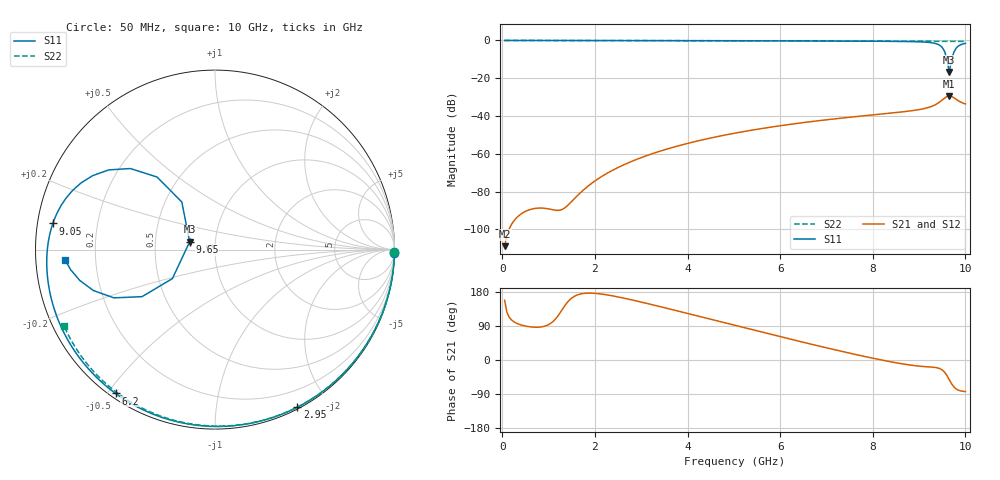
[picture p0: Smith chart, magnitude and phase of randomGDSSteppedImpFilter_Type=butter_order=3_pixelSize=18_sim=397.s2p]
! freq	dB(S11)	phase(S11)	dB(S12)	phase(S12)
!  dB(S21)	phase(S21)	dB(S22)	phase(S22)
!S-par simulation data
#  GHz  S  DB  R 50
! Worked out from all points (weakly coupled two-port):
!   200 points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, 50 MHz to 10 GHz, reference 50 ohm
!   highest |S21| = -29.33 dB at 9.65 GHz (marker M1); lowest = -108.9 dB at 50 MHz (marker M2)
!   lowest |S11| = -16.6 dB at 9.65 GHz (marker M3), VSWR 1.35, Z = 37.5 + j3.35 ohm
!   |S11| at or under -10 dB: 9.601 GHz to 9.709 GHz (107.8 MHz wide, 1.12 % of centre)
!   |S22| runs from -0.5 to 0.0 dB; largest |S21 - S12| = 0
!   S11 on the Smith chart (normalised r, x): 50 MHz: open; 2.95 GHz: 0.02, -1.65; 6.2 GHz: 0.02, -0.52; 9.05 GHz: 0.04, +0.08; 9.65 GHz: 0.75, +0.07; 10 GHz: 0.09, -0.03
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0.05  -0.00 -1.1  -108.87 157.7  -108.87 157.7  -0.00 -0.9
0.85  -0.02 -18.5  -88.70 87.5  -88.70 87.5  -0.02 -14.9
1.7  -0.05 -36.6  -80.29 174.5  -80.29 174.5  -0.04 -29.5
1.75  -0.05 -37.7  -79.18 175.6  -79.18 175.6  -0.04 -30.4
2.25  -0.06 -48.1  -70.48 172.1  -70.48 172.1  -0.05 -38.8
2.95  -0.08 -62.4  -62.47 154.3  -62.47 154.3  -0.07 -50.4
3.4  -0.09 -71.4  -58.64 141.1  -58.64 141.1  -0.08 -57.6
5.05  -0.16 -103.1  -48.93 90.5  -48.93 90.5  -0.13 -83.2
6.2  -0.23 -124.6  -44.45 55.6  -44.45 55.6  -0.18 -100.0
6.7  -0.26 -134.1  -42.86 40.8  -42.86 40.8  -0.21 -107.1
8.35  -0.46 -168.3  -38.55 -3.9  -38.55 -3.9  -0.33 -130.0
9.05  -0.77 170.8  -36.36 -16.7  -36.36 -16.7  -0.41 -139.7
9.35  -1.58 153.6  -34.01 -19.7  -34.01 -19.7  -0.44 -143.8
9.5  -3.70 136.2  -31.53 -26.3  -31.53 -26.3  -0.46 -145.9
9.55  -5.72 128.6  -30.53 -32.1  -30.53 -32.1  -0.46 -146.6
9.6  -9.80 124.9  -29.70 -40.7  -29.70 -40.7  -0.47 -147.3
9.65  -16.62 162.8  -29.33 -51.6  -29.33 -51.6  -0.47 -148.0
9.7  -10.84 -145.8  -29.59 -62.4  -29.59 -62.4  -0.48 -148.7
9.75  -6.31 -147.2  -30.30 -70.8  -30.30 -70.8  -0.48 -149.5
9.8  -4.09 -154.5  -31.15 -76.4  -31.15 -76.4  -0.49 -150.2
9.9  -2.23 -167.2  -32.63 -81.6  -32.63 -81.6  -0.50 -151.6
10  -1.54 -176.1  -33.59 -83.3  -33.59 -83.3  -0.52 -153.0
